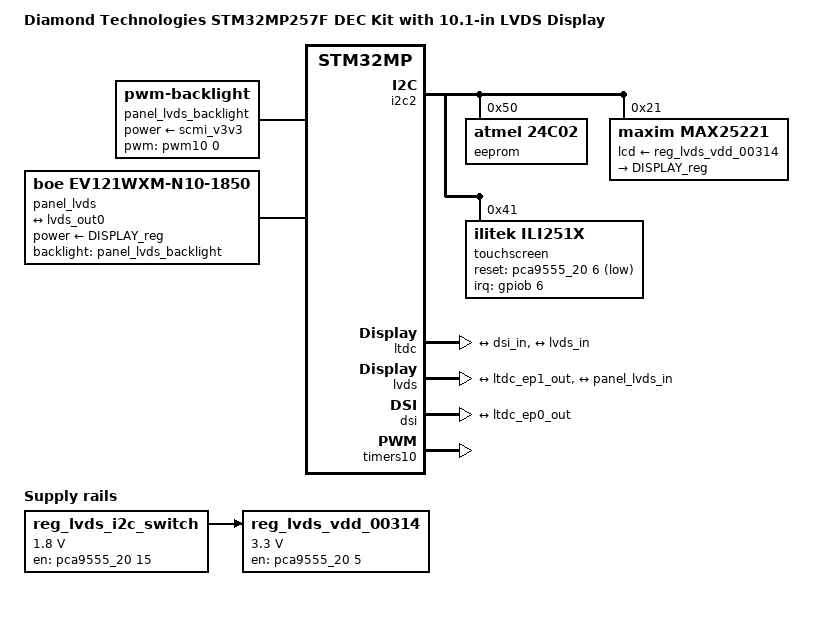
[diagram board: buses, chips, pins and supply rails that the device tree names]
// SPDX-License-Identifier: (GPL-2.0-only OR BSD-3-Clause)
/*
 * Copyright (C) 2026 Diamond Technologies
 *
 * Diamond Technologies STM32MP257F DEC Kit with 10.1" LVDS Display
 * (BOE EV121WXM-N10-1850, 1280x800, MAX25221-backed VDD via 00314 boost)
 */

/dts-v1/;

#include <dt-bindings/interrupt-controller/irq.h>
#include <dt-bindings/pwm/pwm.h>
#include "stm32mp-dec-kit.dts"

/ {
	model = "Diamond Technologies STM32MP257F DEC Kit with 10.1-in LVDS Display";

	panel_lvds_backlight: panel-lvds-backlight {
		compatible = "pwm-backlight";
		pwms = <&pwm10 0 1000000 0>;
		brightness-levels = <0 100>;
		num-interpolated-steps = <100>;
		default-brightness-level = <80>;
		power-supply = <&scmi_v3v3>;
		status = "okay";
	};

	reg_lvds_i2c_switch: regulator-lvds-i2c-switch {
		compatible = "regulator-fixed";
		regulator-name = "lvds_i2c_sw";
		regulator-min-microvolt = <1800000>;
		regulator-max-microvolt = <1800000>;
		gpio = <&pca9555_20 15 GPIO_ACTIVE_HIGH>;
		enable-active-high;
		regulator-always-on;
		status = "okay";
	};

	reg_lvds_vdd_00314: regulator-lvds-vdd {
		compatible = "regulator-fixed";
		regulator-name = "lvds_vdd";
		/* 00314 boosts 1.8 V input to 3.3 V output */
		regulator-min-microvolt = <3300000>;
		regulator-max-microvolt = <3300000>;
		gpio = <&pca9555_20 5 GPIO_ACTIVE_HIGH>;
		enable-active-high;
		regulator-always-on;
		vin-supply = <&reg_lvds_i2c_switch>;
		status = "okay";
	};

	panel_lvds: panel-lvds {
		compatible = "boe,ev121wxm-n10-1850";
		backlight = <&panel_lvds_backlight>;
		power-supply = <&DISPLAY_reg>;
		status = "okay";

		port {
			panel_lvds_in: endpoint {
				remote-endpoint = <&lvds_out0>;
			};
		};
	};
};

&i2c2 {
	/* eeprom on display */
	eeprom@50 {
		compatible = "atmel,24c02";
		reg = <0x50>;
		pagesize = <16>;
		status = "okay";
	};

	max25221: max25221@21 {
		compatible = "maxim,max25221";
		reg = <0x21>;
		lcd-supply = <&reg_lvds_vdd_00314>;
		status = "okay";

		regulators {
			DISPLAY_reg: DISPLAY {
				regulator-name = "DISPLAY";
			};
		};
	};

	touchscreen@41 {
		compatible = "ilitek,ili251x";
		reg = <0x41>;
		pinctrl-names = "default";
		pinctrl-0 = <&pinctrl_lvds_touchscreen>;
		interrupt-parent = <&gpiob>;
		interrupts = <6 IRQ_TYPE_EDGE_FALLING>;
		reset-gpios = <&pca9555_20 6 GPIO_ACTIVE_LOW>;
	};
};

&ltdc {
	default-on;
	rotation-memory = <&ltdc_sec_rotation>;
	status = "okay";

	port {
		#address-cells = <1>;
		#size-cells = <0>;

		ltdc_ep0_out: endpoint@0 {
			reg = <0>;
			remote-endpoint = <&dsi_in>;
		};

		ltdc_ep1_out: endpoint@1 {
			reg = <1>;
			remote-endpoint = <&lvds_in>;
		};
	};
};

&lvds {
	default-on;
	vdd-supply = <&scmi_vddcore>;
	vdda18-supply = <&scmi_v1v8>;
	status = "okay";

	ports {
		#address-cells = <1>;
		#size-cells = <0>;

		port@0 {
			reg = <0>;
			lvds_in: endpoint {
				remote-endpoint = <&ltdc_ep1_out>;
			};
		};

		port@1 {
			reg = <1>;
			lvds_out0: endpoint {
				remote-endpoint = <&panel_lvds_in>;
			};
		};
	};
};

/* DSI port endpoint kept wired (peer of ltdc_ep0_out) but DSI itself stays
 * disabled — the LVDS path drives the panel. Mirrors the cargt -glt1011280800
 * overlay which configures ports@0 of &dsi without enabling the controller.
 */
&dsi {
	vdd-supply = <&scmi_vddcore>;
	vdda18-supply = <&scmi_v1v8>;
	ports {
		#address-cells = <1>;
		#size-cells = <0>;

		port@0 {
			reg = <0>;
			dsi_in: endpoint {
				remote-endpoint = <&ltdc_ep0_out>;
			};
		};
	};
};

&timers10 {
	/delete-property/pinctrl-names;
	/delete-property/pinctrl-0;
	/delete-property/pinctrl-1;
	/delete-property/dmas;
	/delete-property/dma-names;
	status = "okay";

	pwm10: pwm {
		pinctrl-names = "default", "sleep";
		pinctrl-0 = <&tim10_pwm_pins_mx>;
		pinctrl-1 = <&tim10_pwm_sleep_pins_mx>;
		status = "okay";
	};
};

&pinctrl {
	pinctrl_lvds_touchscreen: pinctrl_lvds_touchscreen-0 {
		pins {
			pinmux = <STM32_PINMUX('B', 6, GPIO)>; /* LVDSCT_nINT */
		};
	};

	tim10_pwm_pins_mx: tim10_pwm_mx-0 {
		pins {
			pinmux = <STM32_PINMUX('B', 9, AF9)>;
			bias-disable;
			drive-push-pull;
			slew-rate = <0>;
		};
	};

	tim10_pwm_sleep_pins_mx: tim10_pwm_sleep_mx-0 {
		pins {
			pinmux = <STM32_PINMUX('B', 9, ANALOG)>;
		};
	};
};
